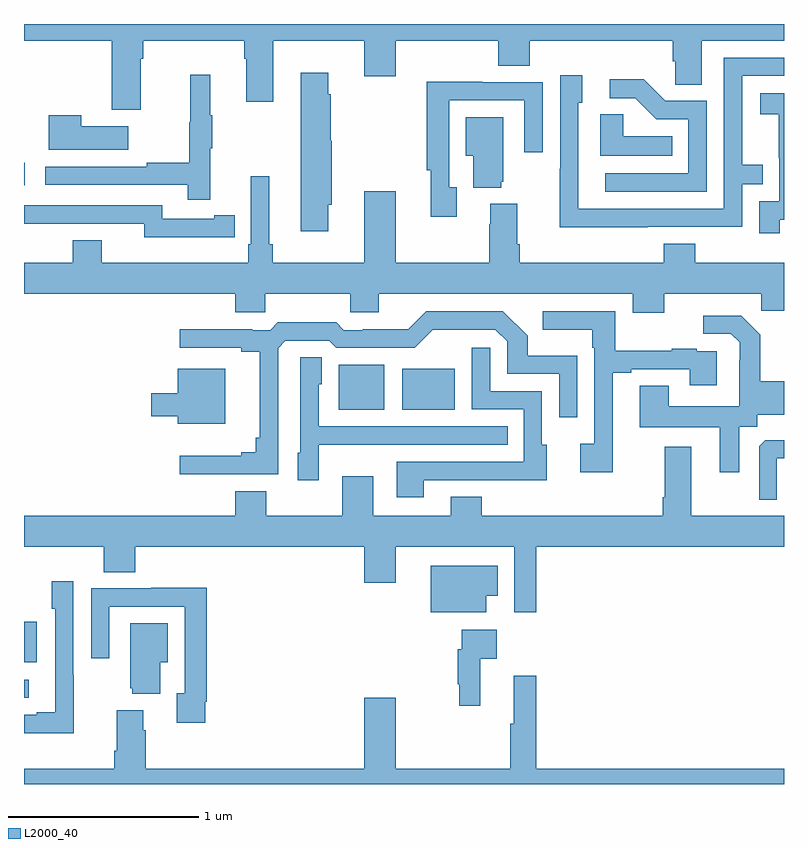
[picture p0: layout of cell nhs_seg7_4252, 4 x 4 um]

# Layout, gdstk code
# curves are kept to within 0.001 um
import gdstk
lib = gdstk.Library(unit=1e-6, precision=1e-09)
def R(c, l, rs):  # rectangles x0, y0, x1, y1
    for r in rs: c.add(gdstk.rectangle(r[:2], r[2:], *l))
def P(c, l, *ps):  # polygons
    for p in ps: c.add(gdstk.Polygon(p, *l))
L2000_40 = (2000, 40)

nhs_seg7_4252 = lib.new_cell('nhs_seg7_4252')
R(nhs_seg7_4252, L2000_40, [(379,1034.454,379.024,1034.55), (379,1034.642,379.066,1034.854), (380.657,1035.971,380.896,1036.207), (380.99,1035.971,381.268,1036.186), (379,1037.151,379.003,1037.271)])
P(nhs_seg7_4252, L2000_40, [(379.615,1037.816),(379.628,1037.816),(379.628,1037.912),(380.159,1037.912),(380.159,1037.816),(380.171,1037.816),(380.171,1037.592),(380.311,1037.592),(380.311,1037.912),(380.792,1037.912),(380.792,1037.724),(380.956,1037.724),(380.956,1037.912),(381.497,1037.912),(381.497,1037.779),(381.662,1037.779),(381.662,1037.912),(382.415,1037.912),(382.415,1037.803),(382.428,1037.803),(382.428,1037.68),(382.567,1037.68),(382.567,1037.912),(383,1037.912),(383,1038),(379,1038),(379,1037.912),(379.463,1037.912),(379.463,1037.55),(379.615,1037.55)],
  [(382.283,1036.932),(382.779,1036.932),(382.779,1037.157),(382.889,1037.157),(382.889,1037.258),(382.779,1037.258),(382.779,1037.727),(383,1037.727),(383,1037.823),(382.683,1037.823),(382.683,1037.028),(381.918,1037.028),(381.918,1037.586),(381.937,1037.586),(381.937,1037.731),(381.822,1037.731),(381.822,1037.237),(381.82,1037.237),(381.82,1036.93),(382.283,1036.93)],
  [(380.602,1037.049),(380.62,1037.049),(380.62,1037.385),(380.615,1037.385),(380.615,1037.63),(380.602,1037.63),(380.602,1037.743),(380.456,1037.743),(380.456,1036.908),(380.602,1036.908)],
  [(379.979,1037.347),(379.99,1037.347),(379.99,1037.521),(379.979,1037.521),(379.979,1037.734),(379.876,1037.734),(379.876,1037.484),(379.869,1037.484),(379.869,1037.27),(379.645,1037.27),(379.645,1037.25),(379.113,1037.25),(379.113,1037.154),(379.861,1037.154),(379.861,1037.076),(379.979,1037.076)],
  [(382.593,1037.595),(382.374,1037.595),(382.261,1037.708),(382.083,1037.708),(382.083,1037.61),(382.217,1037.61),(382.328,1037.499),(382.497,1037.499),(382.497,1037.214),(382.059,1037.214),(382.059,1037.118),(382.593,1037.118)],
  [(381.277,1037.142),(381.237,1037.142),(381.237,1037.598),(381.633,1037.598),(381.633,1037.325),(381.729,1037.325),(381.729,1037.694),(381.413,1037.694),(381.413,1037.696),(381.121,1037.696),(381.121,1037.23),(381.14,1037.23),(381.14,1036.986),(381.277,1036.986)],
  [(382.978,1036.969),(383,1036.969),(383,1037.635),(382.875,1037.635),(382.875,1037.525),(382.973,1037.525),(382.973,1037.297),(382.974,1037.297),(382.974,1037.067),(382.869,1037.067),(382.869,1036.899),(382.978,1036.899)],
  [(382.412,1037.41),(382.155,1037.41),(382.155,1037.525),(382.034,1037.525),(382.034,1037.306),(382.412,1037.306)],
  [(379.549,1037.461),(379.301,1037.461),(379.301,1037.521),(379.13,1037.521),(379.13,1037.339),(379.549,1037.339)],
  [(381.512,1037.169),(381.523,1037.169),(381.523,1037.509),(381.326,1037.509),(381.326,1037.306),(381.365,1037.306),(381.365,1037.138),(381.512,1037.138)],
  [(382.369,1036.58),(382.879,1036.58),(382.879,1036.49),(383,1036.49),(383,1036.744),(382.532,1036.744),(382.532,1036.843),(382.367,1036.843),(382.367,1036.744),(381.608,1036.744),(381.608,1036.84),(381.595,1036.84),(381.595,1037.053),(381.455,1037.053),(381.455,1036.946),(381.448,1036.946),(381.448,1036.744),(380.956,1036.744),(380.956,1037.119),(380.792,1037.119),(380.792,1036.744),(380.309,1036.744),(380.309,1036.84),(380.29,1036.84),(380.29,1037.2),(380.193,1037.2),(380.193,1036.84),(380.18,1036.84),(380.18,1036.744),(379.408,1036.744),(379.408,1036.861),(379.256,1036.861),(379.256,1036.744),(379,1036.744),(379,1036.58),(380.111,1036.58),(380.111,1036.482),(380.271,1036.482),(380.271,1036.58),(380.716,1036.58),(380.716,1036.482),(380.866,1036.482),(380.866,1036.58),(382.205,1036.58),(382.205,1036.481),(382.369,1036.481)],
  [(380,1036.878),(380.108,1036.878),(380.108,1036.994),(380,1036.994),(380,1036.974),(379.728,1036.974),(379.728,1037.046),(379,1037.046),(379,1036.949),(379.172,1036.949),(379.172,1036.95),(379.632,1036.95),(379.632,1036.877),(380,1036.877)],
  [(380.337,1036.293),(380.376,1036.332),(380.607,1036.332),(380.643,1036.296),(381.057,1036.296),(381.152,1036.391),(381.48,1036.392),(381.543,1036.329),(381.543,1036.158),(381.816,1036.158),(381.816,1035.93),(381.912,1035.93),(381.912,1036.255),(381.651,1036.255),(381.651,1036.358),(381.52,1036.488),(381.117,1036.488),(381.023,1036.394),(380.782,1036.394),(380.782,1036.389),(380.682,1036.389),(380.643,1036.429),(380.335,1036.429),(380.295,1036.389),(380.201,1036.389),(380.201,1036.394),(379.821,1036.394),(379.821,1036.296),(380.144,1036.296),(380.144,1036.274),(380.24,1036.274),(380.24,1035.823),(380.221,1035.823),(380.221,1035.746),(380.144,1035.746),(380.144,1035.727),(379.821,1035.727),(379.821,1035.63),(380.337,1035.63)],
  [(382.099,1036.164),(382.195,1036.164),(382.195,1036.182),(382.505,1036.182),(382.505,1036.098),(382.645,1036.098),(382.645,1036.278),(382.541,1036.278),(382.541,1036.291),(382.409,1036.291),(382.409,1036.28),(382.111,1036.28),(382.111,1036.488),(381.729,1036.488),(381.729,1036.391),(381.99,1036.391),(381.99,1036.295),(382.002,1036.295),(382.002,1035.79),(381.927,1035.79),(381.927,1035.642),(382.099,1035.642)],
  [(382.765,1035.88),(382.86,1035.88),(382.86,1035.944),(383,1035.944),(383,1036.12),(382.875,1036.12),(382.875,1036.365),(382.775,1036.465),(382.575,1036.465),(382.575,1036.371),(382.719,1036.371),(382.766,1036.324),(382.766,1036.229),(382.764,1036.229),(382.764,1035.988),(382.393,1035.988),(382.393,1036.097),(382.241,1036.097),(382.241,1035.878),(382.661,1035.878),(382.661,1035.642),(382.765,1035.642)],
  [(381.103,1035.6),(381.533,1035.6),(381.533,1035.599),(381.751,1035.599),(381.751,1035.786),(381.726,1035.786),(381.726,1036.068),(381.453,1036.068),(381.453,1036.297),(381.357,1036.297),(381.357,1035.972),(381.63,1035.972),(381.63,1035.696),(380.963,1035.696),(380.963,1035.51),(381.103,1035.51)],
  [(380.55,1035.785),(380.867,1035.785),(380.867,1035.786),(381.545,1035.786),(381.545,1035.882),(380.55,1035.882),(380.55,1036.104),(380.566,1036.104),(380.566,1036.247),(380.454,1036.247),(380.454,1035.744),(380.441,1035.744),(380.441,1035.6),(380.55,1035.6)],
  [(380.059,1036.186),(379.808,1036.186),(379.808,1036.057),(379.671,1036.057),(379.671,1035.935),(379.808,1035.935),(379.808,1035.896),(380.059,1035.896)],
  [(382.962,1035.714),(383,1035.714),(383,1035.809),(382.901,1035.809),(382.869,1035.777),(382.869,1035.497),(382.962,1035.497)],
  [(383,1035.412),(382.513,1035.412),(382.513,1035.775),(382.373,1035.775),(382.373,1035.508),(382.361,1035.508),(382.361,1035.412),(381.409,1035.412),(381.409,1035.511),(381.245,1035.511),(381.245,1035.412),(380.839,1035.412),(380.839,1035.619),(380.675,1035.619),(380.675,1035.412),(380.275,1035.412),(380.275,1035.541),(380.111,1035.541),(380.111,1035.412),(379,1035.412),(379,1035.248),(379.421,1035.248),(379.421,1035.115),(379.586,1035.115),(379.586,1035.248),(380.792,1035.248),(380.792,1035.06),(380.956,1035.06),(380.956,1035.248),(381.579,1035.248),(381.579,1034.904),(381.695,1034.904),(381.695,1035.248),(383,1035.248)],
  [(381.433,1034.99),(381.494,1034.99),(381.494,1035.148),(381.14,1035.148),(381.14,1034.903),(381.433,1034.903)],
  [(379.263,1034.573),(379.26,1034.573),(379.26,1035.067),(379.145,1035.067),(379.145,1034.922),(379.164,1034.922),(379.164,1034.377),(379.067,1034.377),(379.067,1034.364),(379,1034.364),(379,1034.267),(379.263,1034.267)],
  [(379.954,1034.434),(379.961,1034.434),(379.961,1035.032),(379.669,1035.032),(379.669,1035.03),(379.353,1035.03),(379.353,1034.661),(379.449,1034.661),(379.449,1034.934),(379.845,1034.934),(379.845,1034.478),(379.805,1034.478),(379.805,1034.322),(379.954,1034.322)],
  [(379.717,1034.642),(379.756,1034.642),(379.756,1034.845),(379.559,1034.845),(379.559,1034.505),(379.571,1034.505),(379.571,1034.474),(379.717,1034.474)],
  [(381.401,1034.66),(381.487,1034.66),(381.487,1034.812),(381.303,1034.812),(381.303,1034.708),(381.283,1034.708),(381.283,1034.524),(381.291,1034.524),(381.291,1034.412),(381.401,1034.412)],
  [(383,1034.08),(381.695,1034.08),(381.695,1034.569),(381.578,1034.569),(381.578,1034.316),(381.559,1034.316),(381.559,1034.08),(380.956,1034.08),(380.956,1034.455),(380.792,1034.455),(380.792,1034.08),(379.64,1034.08),(379.64,1034.282),(379.627,1034.282),(379.627,1034.389),(379.487,1034.389),(379.487,1034.176),(379.475,1034.176),(379.475,1034.08),(379,1034.08),(379,1034),(383,1034)])

lib.write_gds('nhs_seg7_4252.gds')
